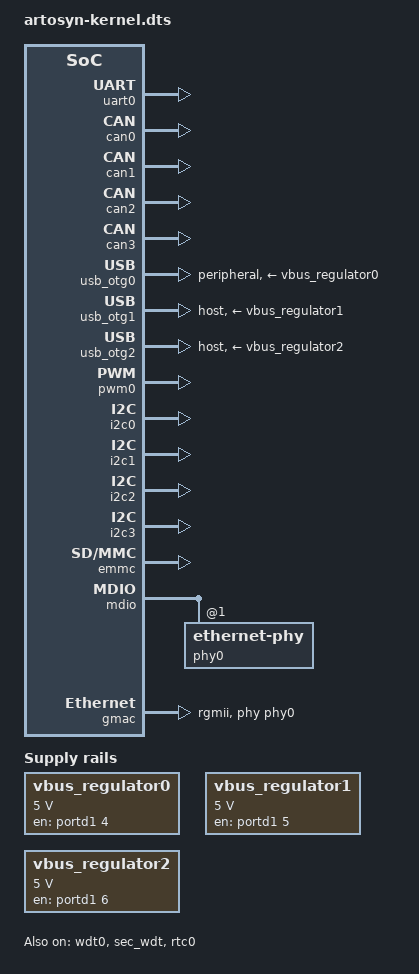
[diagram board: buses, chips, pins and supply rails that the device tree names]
/*
 * Copyright 2015 Artosyn Co., Ltd.
 *
 * This file is dual-licensed: you can use it either under the terms
 * of the GPL or the X11 license, at your option. Note that this dual
 * licensing only applies to this file, and not this project as a
 * whole.
 *
 *  a) This file is free software; you can redistribute it and/or
 *     modify it under the terms of the GNU General Public License as
 *     published by the Free Software Foundation; either version 2 of the
 *     License, or (at your option) any later version.
 *
 *     This file is distributed in the hope that it will be useful,
 *     but WITHOUT ANY WARRANTY; without even the implied warranty of
 *     MERCHANTABILITY or FITNESS FOR A PARTICULAR PURPOSE.  See the
 *     GNU General Public License for more details.
 *
 * Or, alternatively,
 *
 *  b) Permission is hereby granted, free of charge, to any person
 *     obtaining a copy of this software and associated documentation
 *     files (the "Software"), to deal in the Software without
 *     restriction, including without limitation the rights to use,
 *     copy, modify, merge, publish, distribute, sublicense, and/or
 *     sell copies of the Software, and to permit persons to whom the
 *     Software is furnished to do so, subject to the following
 *     conditions:
 *
 *     The above copyright notice and this permission notice shall be
 *     included in all copies or substantial portions of the Software.
 *
 *     THE SOFTWARE IS PROVIDED "AS IS", WITHOUT WARRANTY OF ANY KIND,
 *     EXPRESS OR IMPLIED, INCLUDING BUT NOT LIMITED TO THE WARRANTIES
 *     OF MERCHANTABILITY, FITNESS FOR A PARTICULAR PURPOSE AND
 *     NONINFRINGEMENT. IN NO EVENT SHALL THE AUTHORS OR COPYRIGHT
 *     HOLDERS BE LIABLE FOR ANY CLAIM, DAMAGES OR OTHER LIABILITY,
 *     WHETHER IN AN ACTION OF CONTRACT, TORT OR OTHERWISE, ARISING
 *     OTHER DEALINGS IN THE SOFTWARE.
 */

/dts-v1/;
#include "../../common/artosyn-kernel.dtsi"
#include "artosyn-memory.dtsi"

&uart0 {
	status = "okay";
};

&dw_ceva_dmac {
	status = "disabled";
};

&can0 {
	status = "okay";
};

&can1 {
	status = "okay";
};

&can2 {
	status = "okay";
};

&can3 {
	status = "okay";
};

&vbus_regulator0 {
	compatible = "regulator-fixed";
	regulator-name = "usb_otg0_vbus";
	regulator-min-microvolt = <5000000>;
	regulator-max-microvolt = <5000000>;
	gpio = <&portd1 4 GPIO_ACTIVE_HIGH>;
	enable-active-high;
};

&vbus_regulator1 {
	compatible = "regulator-fixed";
	regulator-name = "usb_otg1_vbus";
	regulator-min-microvolt = <5000000>;
	regulator-max-microvolt = <5000000>;
	gpio = <&portd1 5 GPIO_ACTIVE_HIGH>;
	enable-active-high;
};

&vbus_regulator2 {
	compatible = "regulator-fixed";
	regulator-name = "usb_otg2_vbus";
	regulator-min-microvolt = <5000000>;
	regulator-max-microvolt = <5000000>;
	gpio = <&portd1 6 GPIO_ACTIVE_HIGH>;
	enable-active-high;
};

&usb_otg0 {
	dr_mode = "peripheral";
	vbus-supply = <&vbus_regulator0>;
	status = "okay";
};

&usb_otg1 {
	dr_mode = "host";
	vbus-supply = <&vbus_regulator1>;
	status = "okay";
};

&usb_otg2 {
	dr_mode = "host";
	vbus-supply = <&vbus_regulator2>;
	status = "okay";
};

&wdt0 {
	status = "okay";
};

&sec_wdt {
    status = "okay";
};

&rtc0 {
	status = "okay";
};

&pwm0 {
	status = "okay";
};

&tzc {
	status = "disabled";
};

&i2c0 {
	status = "okay";
};

&i2c1 {
	status = "okay";
};

&i2c2 {
	status = "okay";
};

&i2c3 {
	status = "okay";
};

&i2c4 {
	status = "disabled";
};

&emmc {
	status = "okay";
};

&sdmmc {
	status = "disabled";
};

&mdio {
	status = "okay";

	phy0: ethernet-phy@1 {
		status = "okay";
	};
};

&gmac {
	mac-address = [00 00 01 02 03 04]; /*This should not be here if uboot has set mac already*/
	phy-mode = "rgmii";
	phy-handle = <&phy0>;
	tzc-handle = <&tzc>;
	tx-fifo-depth = <3>;
	tx-fifo-depth-1000 = <2>;
	tx-bd-num = <64>; /*total 128 bds, rx-bd-num = 128 - tx-bd-num*/
	tx-enhance;
	rx-enhance;
	status = "okay";
};

&qspi{
	status = "disable";
};
